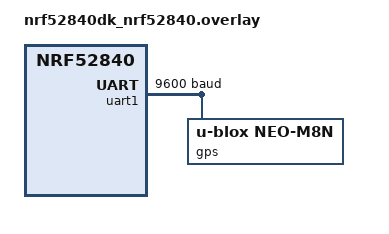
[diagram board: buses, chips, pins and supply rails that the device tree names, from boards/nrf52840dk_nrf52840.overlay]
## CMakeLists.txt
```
# SPDX-License-Identifier: Apache-2.0

cmake_minimum_required(VERSION 3.20.0)

list(APPEND ZEPHYR_EXTRA_MODULES ${CMAKE_CURRENT_SOURCE_DIR}/../../modules/custom_drivers)

find_package(Zephyr REQUIRED HINTS $ENV{ZEPHYR_BASE})
project(gps_example)

target_sources(app PRIVATE src/main.c)
```

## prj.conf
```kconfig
# GPS Example Configuration

CONFIG_LOG=y
CONFIG_LOG_MODE_IMMEDIATE=y

CONFIG_SERIAL=y
CONFIG_UART_INTERRUPT_DRIVEN=y

CONFIG_UBLOX_NEO_M8N=y
CONFIG_UBLOX_NEO_M8N_LOG_LEVEL_INF=y
CONFIG_UBLOX_NEO_M8N_SHELL=y

CONFIG_SHELL=y
CONFIG_SHELL_BACKEND_SERIAL=y

CONFIG_CONSOLE=y
CONFIG_UART_CONSOLE=y

CONFIG_FPU=y
CONFIG_CBPRINTF_FP_SUPPORT=y
```

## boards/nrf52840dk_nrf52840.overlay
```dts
/* GPS Example - nRF52840 DK Board Overlay */

&uart1 {
    status = "okay";
    current-speed = <9600>;

    gps: gps {
        compatible = "u-blox,neo-m8n";
        current-speed = <9600>;
    };
};
```

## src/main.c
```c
/**
 * @file main.c
 * @brief GPS (uBlox NEO-M8N) Example Application
 *
 * Demonstrates GPS data acquisition and parsing.
 *
 * SPDX-License-Identifier: Apache-2.0
 */

#include <zephyr/kernel.h>
#include <zephyr/device.h>
#include <zephyr/logging/log.h>

#include "ublox_neo_m8n.h"

LOG_MODULE_REGISTER(main, LOG_LEVEL_INF);

#if DT_NODE_EXISTS(DT_NODELABEL(gps))
#define GPS_NODE DT_NODELABEL(gps)
#else
#error "No gps node found in devicetree"
#endif

static void gps_data_callback(const struct device *dev,
                              const struct gps_data *data,
                              void *user_data)
{
    if (data->fix_valid) {
        LOG_INF("GPS Fix: Lat=%.6f, Lon=%.6f, Alt=%.1f m",
                data->position.latitude,
                data->position.longitude,
                (double)data->position.altitude);

        if (data->velocity.valid) {
            LOG_INF("Speed: %.1f m/s (%.1f km/h), Course: %.1f deg",
                    (double)data->velocity.speed_mps,
                    (double)data->velocity.speed_kmh,
                    (double)data->velocity.course);
        }
    }
}

int main(void)
{
    const struct device *dev = DEVICE_DT_GET(GPS_NODE);
    struct gps_data data;
    int ret;

    LOG_INF("GPS Example Application");
    LOG_INF("=======================");

    if (!device_is_ready(dev)) {
        LOG_ERR("GPS device not ready");
        return -ENODEV;
    }

    /* Set callback for new data */
    gps_set_callback(dev, gps_data_callback, NULL);

    /* Start GPS acquisition */
    ret = gps_start(dev);
    if (ret < 0) {
        LOG_ERR("Failed to start GPS: %d", ret);
        return ret;
    }

    LOG_INF("GPS started, waiting for fix...");
    LOG_INF("");

    while (1) {
        ret = gps_get_data(dev, &data);
        if (ret == 0) {
            const char *fix_str[] = {"No Fix", "2D Fix", "3D Fix"};

            LOG_INF("Status: %s, Satellites: %u",
                    fix_str[data.fix_type],
                    data.satellites_used);

            if (data.time.valid) {
                LOG_INF("Time: %04u-%02u-%02u %02u:%02u:%02u UTC",
                        data.time.year, data.time.month, data.time.day,
                        data.time.hour, data.time.minute, data.time.second);
            }

            if (data.accuracy.valid) {
                LOG_INF("HDOP: %.1f, VDOP: %.1f, PDOP: %.1f",
                        (double)data.accuracy.hdop,
                        (double)data.accuracy.vdop,
                        (double)data.accuracy.pdop);
            }

            LOG_INF("");
        }

        k_sleep(K_SECONDS(2));
    }

    return 0;
}
```
